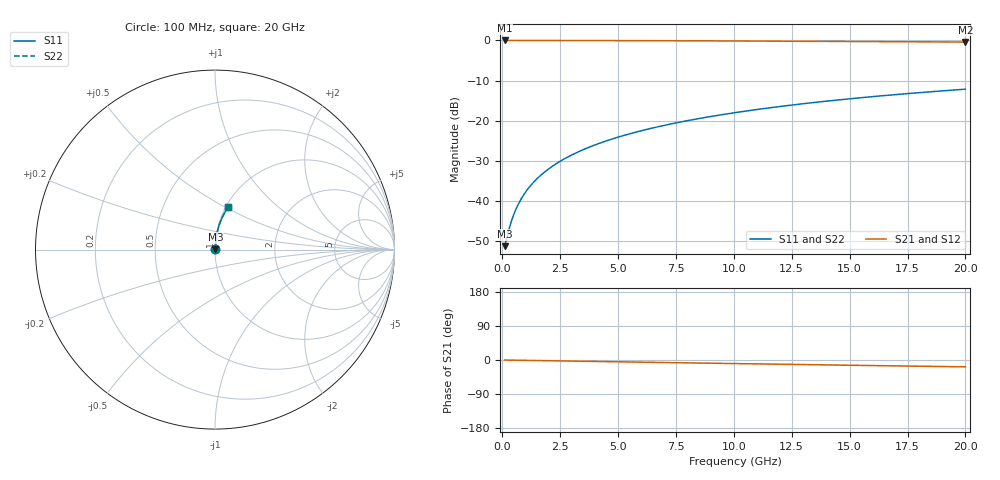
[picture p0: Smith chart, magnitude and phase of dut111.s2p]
! Touchstone file exported from HFSS 2024.1.0
!  File:  C:/UserFiles/LocalFiles/RDL_TSV_Batchsim/temp_RDL_bottom_111_1778695646.aedt
!  Generated:  02:10:09 AM May 14, 2026
!  Design:  RDL_bottom
!  Project:  temp_RDL_bottom_111_1778695646
!  Setup:  Setup1
!  Solution:  Sweep
! Variables:
!  dtsv = 10.80580581um
!  hbump = 3um
!  htsv = 66.41um
!  ldown = 176.74um
!  lrdl = 100um
!  p = 40
!  p1 = 48.78um
!  rhole = 1um
!  t = 450um
!  tdown = 2.55um
!  trdl = 3.915915916um
!  wdown = 11.15um
!  wrdl = 20um
# GHz S MA R 50.000000
! Terminal data exported
! Port[1] = RDL1_T1
! Port[2] = RDL1_T2
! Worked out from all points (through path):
!   200 points, 100 MHz to 20 GHz, reference 50 ohm
!   highest |S21| = -0.02 dB at 100 MHz (marker M1); lowest = -0.4 dB at 20 GHz (marker M2)
!   group delay of S21, straight-line fit = 2.51 ps
!   lowest |S11| = -51.3 dB at 100 MHz (marker M3), VSWR 1.01, Z = 50.2 + j0.129 ohm
!   |S11| at or under -10 dB: start of sweep to end of sweep
!   |S22| runs from -51.3 to -12.2 dB; largest |S21 - S12| = 3.1e-15
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0.1  0.002735 27.9  0.9976 -0.1  0.9976 -0.1  0.002735 27.9
! Gamma 0 0 0 0
! Port Impedance 50 0 50 0
0.3  0.00455 57.2  0.9975 -0.3  0.9975 -0.3  0.00455 57.2
0.4  0.00567 63.8  0.9975 -0.4  0.9975 -0.4  0.00567 63.8
0.5  0.006835 68.2  0.9974 -0.5  0.9974 -0.5  0.006835 68.2
0.6  0.008022 71.2  0.9974 -0.6  0.9974 -0.6  0.008022 71.2
0.7  0.009221 73.4  0.9973 -0.7  0.9973 -0.7  0.009221 73.4
0.9  0.01164 76.4  0.9972 -0.9  0.9972 -0.9  0.01164 76.4
1.2  0.01528 79.1  0.9971 -1.2  0.9971 -1.2  0.01528 79.1
1.4  0.01772 80.3  0.9969 -1.4  0.9969 -1.4  0.01772 80.3
1.7  0.02139 81.5  0.9967 -1.7  0.9967 -1.7  0.02139 81.5
2.2  0.02753 82.8  0.9964 -2.1  0.9964 -2.1  0.02753 82.8
2.8  0.03494 83.6  0.9958 -2.7  0.9958 -2.7  0.03494 83.6
3.5  0.04362 84.0  0.9951 -3.4  0.9951 -3.4  0.04362 84.0
4.2  0.05233 84.1  0.9942 -4.1  0.9942 -4.1  0.05233 84.1
5  0.06233 84.0  0.993 -4.8  0.993 -4.8  0.06233 84.0
5.9  0.07361 83.7  0.9915 -5.7  0.9915 -5.7  0.07361 83.7
6.8  0.08493 83.2  0.9898 -6.5  0.9898 -6.5  0.08493 83.2
8.3  0.1038 82.3  0.9867 -7.9  0.9867 -7.9  0.1038 82.3
10.1  0.1265 81.1  0.9825 -9.5  0.9825 -9.5  0.1265 81.1
13.4  0.1676 78.4  0.9737 -12.4  0.9737 -12.4  0.1676 78.4
16.7  0.2078 75.7  0.9637 -15.3  0.9637 -15.3  0.2078 75.7
20  0.2466 72.9  0.9527 -18.1  0.9527 -18.1  0.2466 72.9
